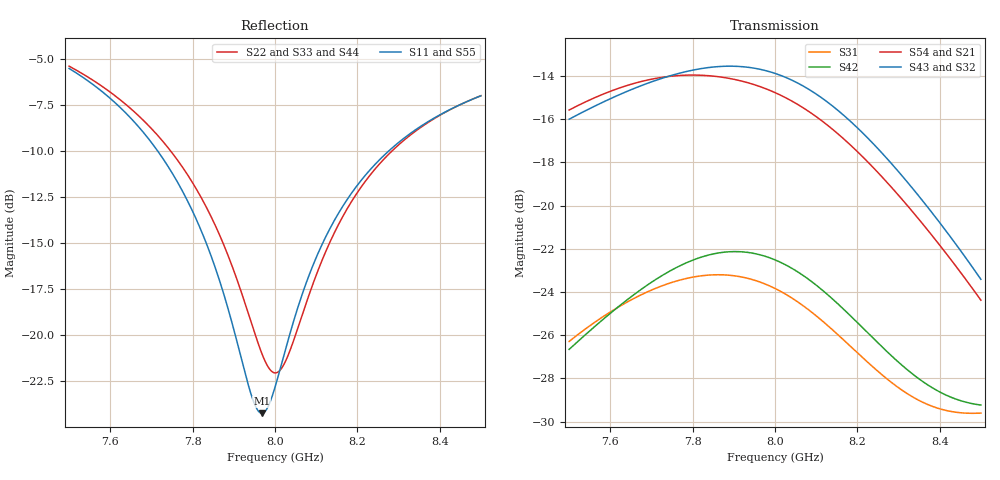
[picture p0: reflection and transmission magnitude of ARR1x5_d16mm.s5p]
! Touchstone file exported from HFSS 2025.1.0
!  File:  C:/Users/user/Documents/Ansoft/TFG_UWB-MIMO-Array.aedt
!  Generated:  06:37:34 PM Nov 20, 2026
!  Design:  ARR1x5_P01_MS2_dparam
!  Project:  TFG_UWB-MIMO-Array
!  Setup:  Setup_ch9
!  Solution:  Sweep_7p5_8p5
! Variables:
!  arr_d = 16mm
!  board_m = 13mm
!  board_x = 90mm
!  board_y = 26mm
!  cu_t = 0.035mm
!  line_w = 3.92mm
!  pad_xy = 22mm
!  pad_zn = 25mm
!  pad_zp = 33mm
!  patch_L = 7.322mm
!  patch_W = 11.421266mm
!  sub_h = 2.07mm
!  tr_l = 7.1mm
!  tr_w = 0.8mm
# GHz S MA R 50.000000
! Terminal data exported
! Port[1] = P1
! Port[2] = P2
! Port[3] = P3
! Port[4] = P4
! Port[5] = P5
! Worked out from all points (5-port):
!   1001 points, 7.5 GHz to 8.5 GHz, reference 50 ohm
!   strongest paths, dB at 7.5 GHz, 7.75 GHz, 8 GHz, 8.25 GHz, 8.5 GHz:
!     S43: -16.0, -14.0, -13.9, -17.4, -23.4
!     S32: -16.0, -14.0, -13.9, -17.4, -23.5
!     S54: -15.6, -14.0, -14.8, -18.5, -24.4
!     S21: -15.6, -14.0, -14.8, -18.5, -24.4
!     S42: -26.7, -23.0, -22.5, -26.4, -29.2
!     S31: -26.3, -23.6, -23.8, -27.7, -29.6
!   lowest |S11| = -24.2 dB at 7.968 GHz (marker M1), VSWR 1.13, Z = 56 + j2.48 ohm
!   |S11| at or under -10 dB: 7.716 GHz to 8.275 GHz (559.8 MHz wide, 7 % of centre)
